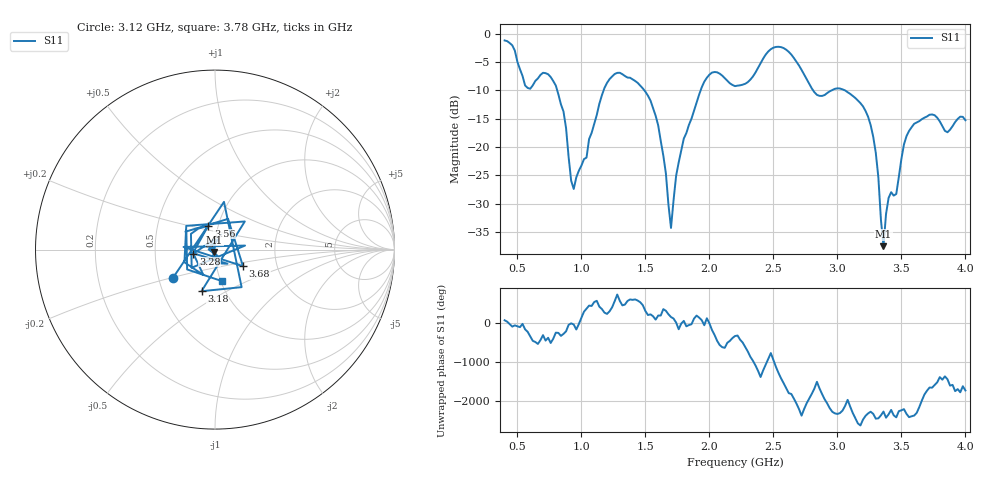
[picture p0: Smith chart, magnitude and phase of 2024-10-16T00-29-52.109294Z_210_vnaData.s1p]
! Created with skrf (http://scikit-rf.org).
# Hz S RI R 50.0
!freq ReS11 ImS11
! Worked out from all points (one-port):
!   181 points, 400 MHz to 4 GHz, reference 50 ohm
!   lowest |S11| = -37.5 dB at 3.36 GHz (marker M1), VSWR 1.03, Z = 49.5 - j1.24 ohm
!   |S11| at or under -10 dB: 810.9 MHz to 1.174 GHz (362.8 MHz wide, 36.6 % of centre); 1.491 GHz to 1.932 GHz (440.3 MHz wide, 25.7 % of centre); 3.058 GHz to end of sweep (the widest 3 of 4)
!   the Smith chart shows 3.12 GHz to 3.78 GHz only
!   S11 on the Smith chart (normalised r, x): 3.12 GHz: 0.59, -0.20; 3.18 GHz: 0.78, -0.38; 3.28 GHz: 0.78, -0.04; 3.56 GHz: 0.90, +0.24; 3.68 GHz: 1.34, -0.26; 3.78 GHz: 1.02, -0.37
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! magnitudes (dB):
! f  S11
! 400 MHz  -1.2
! 560 MHz  -9.1
! 740 MHz  -7.2
! 860 MHz  -13.7
! 940 MHz  -27.4
! 1.18 GHz  -9.6
! 1.3 GHz  -6.9
! 1.58 GHz  -14.5
! 1.66 GHz  -24.7
! 1.7 GHz  -34.3
! 1.76 GHz  -22.7
! 1.98 GHz  -7.8
! 2.2 GHz  -9.3
! 2.5 GHz  -2.5
! 2.66 GHz  -4.3
! 2.84 GHz  -10.8
! 3.1 GHz  -10.6
! 3.12 GHz  -11.0
! 3.18 GHz  -12.3
! 3.28 GHz  -18.2
! 3.32 GHz  -25.4
! 3.36 GHz  -37.5
! 3.4 GHz  -29.0
! 3.46 GHz  -28.3
! 3.56 GHz  -17.2
! 3.68 GHz  -14.8
! 3.78 GHz  -14.8
! 4 GHz  -15.3
